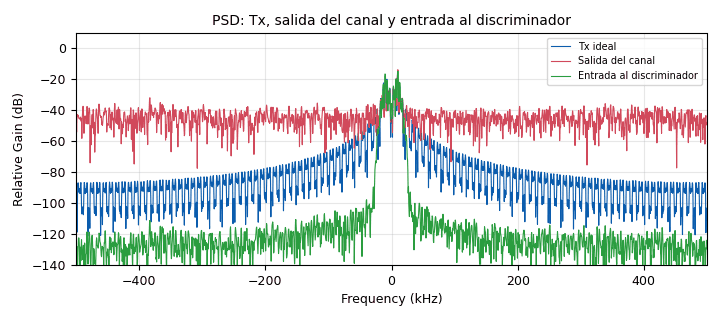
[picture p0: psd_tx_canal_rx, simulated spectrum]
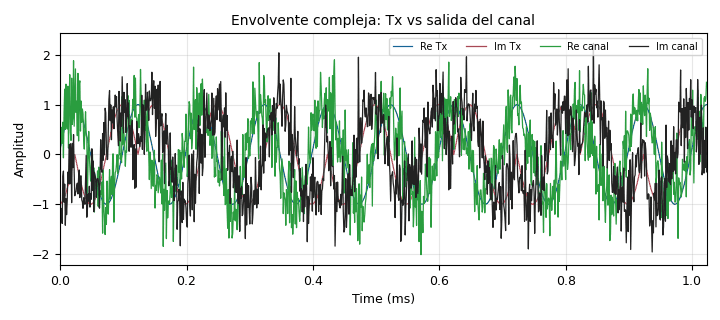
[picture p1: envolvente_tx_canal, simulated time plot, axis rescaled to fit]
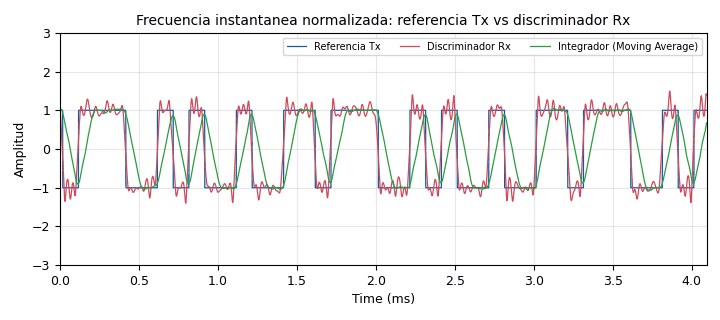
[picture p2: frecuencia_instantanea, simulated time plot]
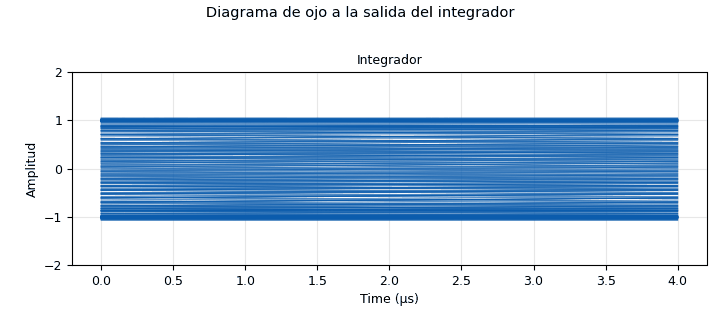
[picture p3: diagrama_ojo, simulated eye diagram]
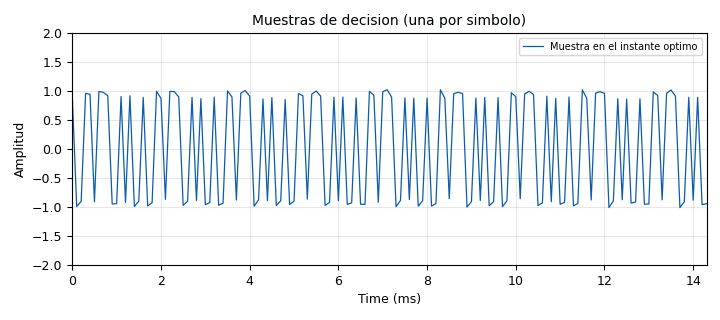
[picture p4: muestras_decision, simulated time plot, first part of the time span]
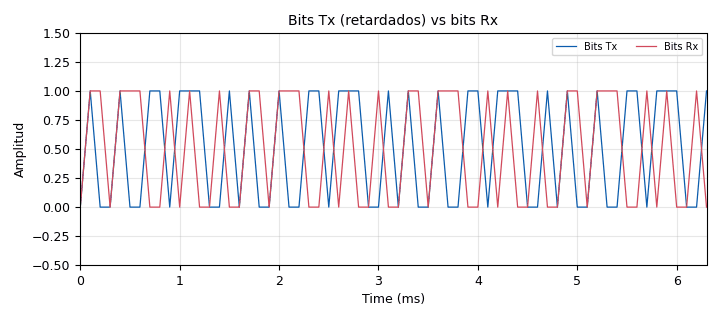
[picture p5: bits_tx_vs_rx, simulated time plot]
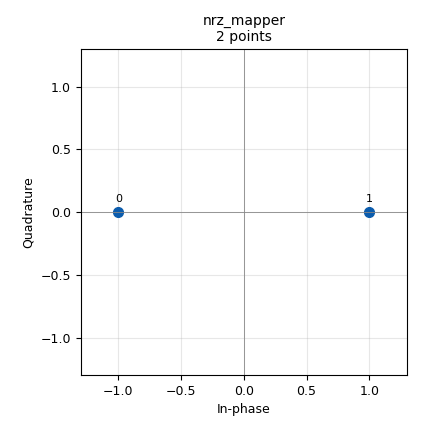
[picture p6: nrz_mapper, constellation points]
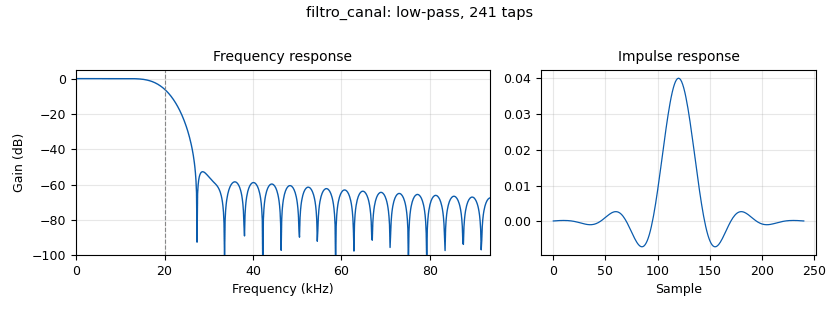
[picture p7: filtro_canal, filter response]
options:
  parameters:
    author: Grupo E1
    description: 'S5 Telemetria binaria BFSK: Tx CPFSK, canal AWGN y receptor no coherente (filtro de canal, discriminador, integrador, muestreo, slicer y BER).'
    generate_options: qt_gui
    id: S5_BFSK_TxCanalRx_GrupoE1
    output_language: python
    title: 'S5 - Telemetria binaria BFSK: Tx - canal AWGN - Rx'
  states: {}

blocks:
- name: import_math
  id: import
  parameters:
    imports: import math
  states: {}
- name: import_firdes
  id: import
  parameters:
    imports: from gnuradio.filter import firdes
  states: {}
- name: import_window
  id: import
  parameters:
    imports: from gnuradio.fft import window
  states: {}
- name: samp_rate
  id: variable
  parameters:
    value: 1e6
  states: {}
- name: sps
  id: variable
  parameters:
    value: '100'
  states: {}
- name: symbol_rate
  id: variable
  parameters:
    value: samp_rate/sps
  states: {}
- name: Rb
  id: variable
  parameters:
    value: symbol_rate
    comment: 'BFSK binaria: Rb = Rs'
  states: {}
- name: h_fsk
  id: variable
  parameters:
    value: 2*fsk_deviation/symbol_rate
    comment: Indice de modulacion
  states: {}
- name: fsk_deviation
  id: variable_qtgui_range
  parameters:
    label: Desviacion FSK (Hz)
    start: '5000'
    step: '1000'
    stop: '100000'
    value: '10000'
  states: {}
- name: noise_voltage
  id: variable_qtgui_range
  parameters:
    label: Noise voltage (A=0, B=0.3, C=0.6, D=0.8)
    start: '0.0'
    step: '0.01'
    stop: '5.0'
    value: '0.6'
  states: {}
- name: receptor
  id: variable_qtgui_chooser
  parameters:
    label: Receptor
    type: int
    num_opts: '2'
    option0: '0'
    label0: 'R1: discriminador directo (base)'
    option1: '1'
    label1: 'R2: filtro de canal + discriminador'
    value: '1'
  states: {}
- name: lpf_cutoff
  id: variable
  parameters:
    value: 20e3
    comment: = fsk_deviation + symbol_rate (recalcular si cambia el diseno)
  states: {}
- name: lpf_width
  id: variable
  parameters:
    value: 10e3
  states: {}
- name: lpf_taps
  id: variable
  parameters:
    value: firdes.low_pass(1.0, samp_rate, lpf_cutoff, lpf_width, window.WIN_HAMMING, 6.76)
  states: {}
- name: lpf_delay
  id: variable
  parameters:
    value: (len(lpf_taps)-1)//2
    comment: Retardo de grupo del filtro de canal (muestras)
  states: {}
- name: skip_muestreo
  id: variable
  parameters:
    value: (lpf_delay + ajuste_muestreo) % sps
    comment: 'Fase de muestreo: ultima muestra de cada ventana'
  states: {}
- name: ajuste_muestreo
  id: variable
  parameters:
    value: '0'
    comment: Ajuste fino (muestras), fijarlo en la Prueba A
  states: {}
- name: retardo_bits
  id: variable
  parameters:
    value: (lpf_delay + ajuste_muestreo)//sps
    comment: 'D_b: retardo de la referencia Tx en bits'
  states: {}
- name: tabs
  id: qtgui_tab_widget
  parameters:
    num_tabs: '4'
    label0: Tx y canal
    label1: Discriminador
    label2: Ojo y decision
    label3: Validacion (BER)
  states: {}
- name: bit_source
  id: blocks_vector_source_x
  parameters:
    type: byte
    vector: '[0,1,0,0,1,1,0,1,1,1,0,0,1,0,1,0]'
    repeat: 'True'
  states: {}
- name: nrz_mapper
  id: digital_chunks_to_symbols_xx
  parameters:
    in_type: byte
    out_type: float
    symbol_table: '[-1.0, 1.0]'
    dimension: '1'
  states: {}
- name: symbol_repeat
  id: blocks_repeat
  parameters:
    type: float
    interp: sps
  states: {}
- name: fsk_modulator
  id: analog_frequency_modulator_fc
  parameters:
    sensitivity: 2*math.pi*fsk_deviation/samp_rate
  states: {}
- name: throttle
  id: blocks_throttle2
  parameters:
    type: complex
    samples_per_second: samp_rate
  states: {}
- name: channel_awgn
  id: channels_channel_model
  parameters:
    noise_voltage: noise_voltage
    freq_offset: '0.0'
    epsilon: '1.0'
    taps: 1.0 + 0.0j
    seed: '0'
    block_tags: 'True'
  states: {}
- name: filtro_canal
  id: fir_filter_xxx
  parameters:
    type: ccf
    decim: '1'
    taps: lpf_taps
  states: {}
- name: compensa_r1
  id: blocks_delay
  parameters:
    type: complex
    delay: lpf_delay
  states: {}
- name: peso_r1
  id: blocks_multiply_const_vxx
  parameters:
    type: complex
    const: 1-receptor
  states: {}
- name: peso_r2
  id: blocks_multiply_const_vxx
  parameters:
    type: complex
    const: receptor
  states: {}
- name: selector_receptor
  id: blocks_add_xx
  parameters:
    type: complex
  states: {}
- name: discriminador_frecuencia_rx
  id: analog_quadrature_demod_cf
  parameters:
    gain: samp_rate/(2*math.pi*fsk_deviation)
  states: {}
- name: integrador_simbolo
  id: blocks_moving_average_xx
  parameters:
    type: float
    length: sps
    scale: 1.0/sps
    max_iter: '4000'
  states: {}
- name: fase_muestreo
  id: blocks_skiphead
  parameters:
    type: float
    num_items: skip_muestreo
  states: {}
- name: una_por_simbolo
  id: blocks_keep_one_in_n
  parameters:
    type: float
    n: sps
  states: {}
- name: decision_binaria
  id: digital_binary_slicer_fb
  parameters: {}
  states: {}
- name: observador_frecuencia_tx
  id: analog_quadrature_demod_cf
  parameters:
    gain: samp_rate/(2*math.pi*fsk_deviation)
  states: {}
- name: alinea_ref_tx
  id: blocks_delay
  parameters:
    type: float
    delay: lpf_delay
  states: {}
- name: retardo_ref_bits
  id: blocks_delay
  parameters:
    type: byte
    delay: retardo_bits
  states: {}
- name: comparador_xor
  id: blocks_xor_xx
  parameters:
    type: byte
    vlen: '1'
  states: {}
- name: errores_a_float
  id: blocks_uchar_to_float
  parameters: {}
  states: {}
- name: ber_ventana
  id: blocks_moving_average_xx
  parameters:
    type: float
    length: '1000'
    scale: 1.0/1000
    max_iter: '4000'
  states: {}
- name: bits_tx_float
  id: blocks_uchar_to_float
  parameters: {}
  states: {}
- name: bits_rx_float
  id: blocks_uchar_to_float
  parameters: {}
  states: {}
- name: psd_tx_canal_rx
  id: qtgui_freq_sink_x
  parameters:
    type: complex
    name: '"PSD: Tx, salida del canal y entrada al discriminador"'
    fftsize: '2048'
    fc: '0'
    bw: samp_rate
    nconnections: '3'
    grid: 'True'
    gui_hint: tabs@0
    label1: Tx ideal
    label2: Salida del canal
    label3: Entrada al discriminador
  states: {}
- name: envolvente_tx_canal
  id: qtgui_time_sink_x
  parameters:
    type: complex
    name: '"Envolvente compleja: Tx vs salida del canal"'
    nconnections: '2'
    size: '1024'
    srate: samp_rate
    grid: 'True'
    ymin: '-2'
    ymax: '2'
    ylabel: Amplitud
    gui_hint: tabs@0
    label1: Re Tx
    label2: Im Tx
    label3: Re canal
    label4: Im canal
  states: {}
- name: frecuencia_instantanea
  id: qtgui_time_sink_x
  parameters:
    type: float
    name: '"Frecuencia instantanea normalizada: referencia Tx vs discriminador Rx"'
    nconnections: '3'
    size: '4096'
    srate: samp_rate
    grid: 'True'
    ymin: '-3'
    ymax: '3'
    ylabel: Amplitud
    gui_hint: tabs@1
    label1: Referencia Tx
    label2: Discriminador Rx
    label3: Integrador (Moving Average)
  states: {}
- name: diagrama_ojo
  id: qtgui_eye_sink_x
  parameters:
    type: float
    name: '"Diagrama de ojo a la salida del integrador"'
    size: '2000'
    srate: samp_rate
    sps: sps
    ymin: '-2'
    ymax: '2'
    grid: 'True'
    gui_hint: tabs@2
    ylabel: Amplitud
    label1: Integrador
  states: {}
- name: muestras_decision
  id: qtgui_time_sink_x
  parameters:
    type: float
    name: '"Muestras de decision (una por simbolo)"'
    size: '256'
    srate: symbol_rate
    grid: 'True'
    ymin: '-2'
    ymax: '2'
    ylabel: Amplitud
    gui_hint: tabs@2
    label1: Muestra en el instante optimo
  states: {}
- name: bits_tx_vs_rx
  id: qtgui_time_sink_x
  parameters:
    type: float
    name: '"Bits Tx (retardados) vs bits Rx"'
    nconnections: '2'
    size: '64'
    srate: symbol_rate
    grid: 'True'
    ymin: '-0.5'
    ymax: '1.5'
    ylabel: Amplitud
    gui_hint: tabs@3
    label1: Bits Tx
    label2: Bits Rx
  states: {}
- name: ber_estimada
  id: qtgui_number_sink
  parameters:
    type: float
    name: '"BER estimada (ventana de 1000 bits)"'
    graph_type: qtgui.NUM_GRAPH_HORIZ
    min: '0'
    max: '0.5'
    update_time: '0.20'
    gui_hint: tabs@3
    label1: BER
    decimals1: '4'
  states: {}

connections:
- [bit_source, '0', nrz_mapper, '0']
- [nrz_mapper, '0', symbol_repeat, '0']
- [symbol_repeat, '0', fsk_modulator, '0']
- [fsk_modulator, '0', throttle, '0']
- [throttle, '0', channel_awgn, '0']
- [channel_awgn, '0', filtro_canal, '0']
- [channel_awgn, '0', compensa_r1, '0']
- [compensa_r1, '0', peso_r1, '0']
- [filtro_canal, '0', peso_r2, '0']
- [peso_r1, '0', selector_receptor, '0']
- [peso_r2, '0', selector_receptor, '1']
- [selector_receptor, '0', discriminador_frecuencia_rx, '0']
- [discriminador_frecuencia_rx, '0', integrador_simbolo, '0']
- [integrador_simbolo, '0', fase_muestreo, '0']
- [fase_muestreo, '0', una_por_simbolo, '0']
- [una_por_simbolo, '0', decision_binaria, '0']
- [throttle, '0', observador_frecuencia_tx, '0']
- [observador_frecuencia_tx, '0', alinea_ref_tx, '0']
- [bit_source, '0', retardo_ref_bits, '0']
- [retardo_ref_bits, '0', comparador_xor, '0']
- [decision_binaria, '0', comparador_xor, '1']
- [comparador_xor, '0', errores_a_float, '0']
- [errores_a_float, '0', ber_ventana, '0']
- [retardo_ref_bits, '0', bits_tx_float, '0']
- [decision_binaria, '0', bits_rx_float, '0']
- [throttle, '0', psd_tx_canal_rx, '0']
- [channel_awgn, '0', psd_tx_canal_rx, '1']
- [selector_receptor, '0', psd_tx_canal_rx, '2']
- [throttle, '0', envolvente_tx_canal, '0']
- [channel_awgn, '0', envolvente_tx_canal, '1']
- [alinea_ref_tx, '0', frecuencia_instantanea, '0']
- [discriminador_frecuencia_rx, '0', frecuencia_instantanea, '1']
- [integrador_simbolo, '0', frecuencia_instantanea, '2']
- [integrador_simbolo, '0', diagrama_ojo, '0']
- [una_por_simbolo, '0', muestras_decision, '0']
- [bits_tx_float, '0', bits_tx_vs_rx, '0']
- [bits_rx_float, '0', bits_tx_vs_rx, '1']
- [ber_ventana, '0', ber_estimada, '0']

metadata:
  file_format: 1
  grc_version: 3.10.12.0
